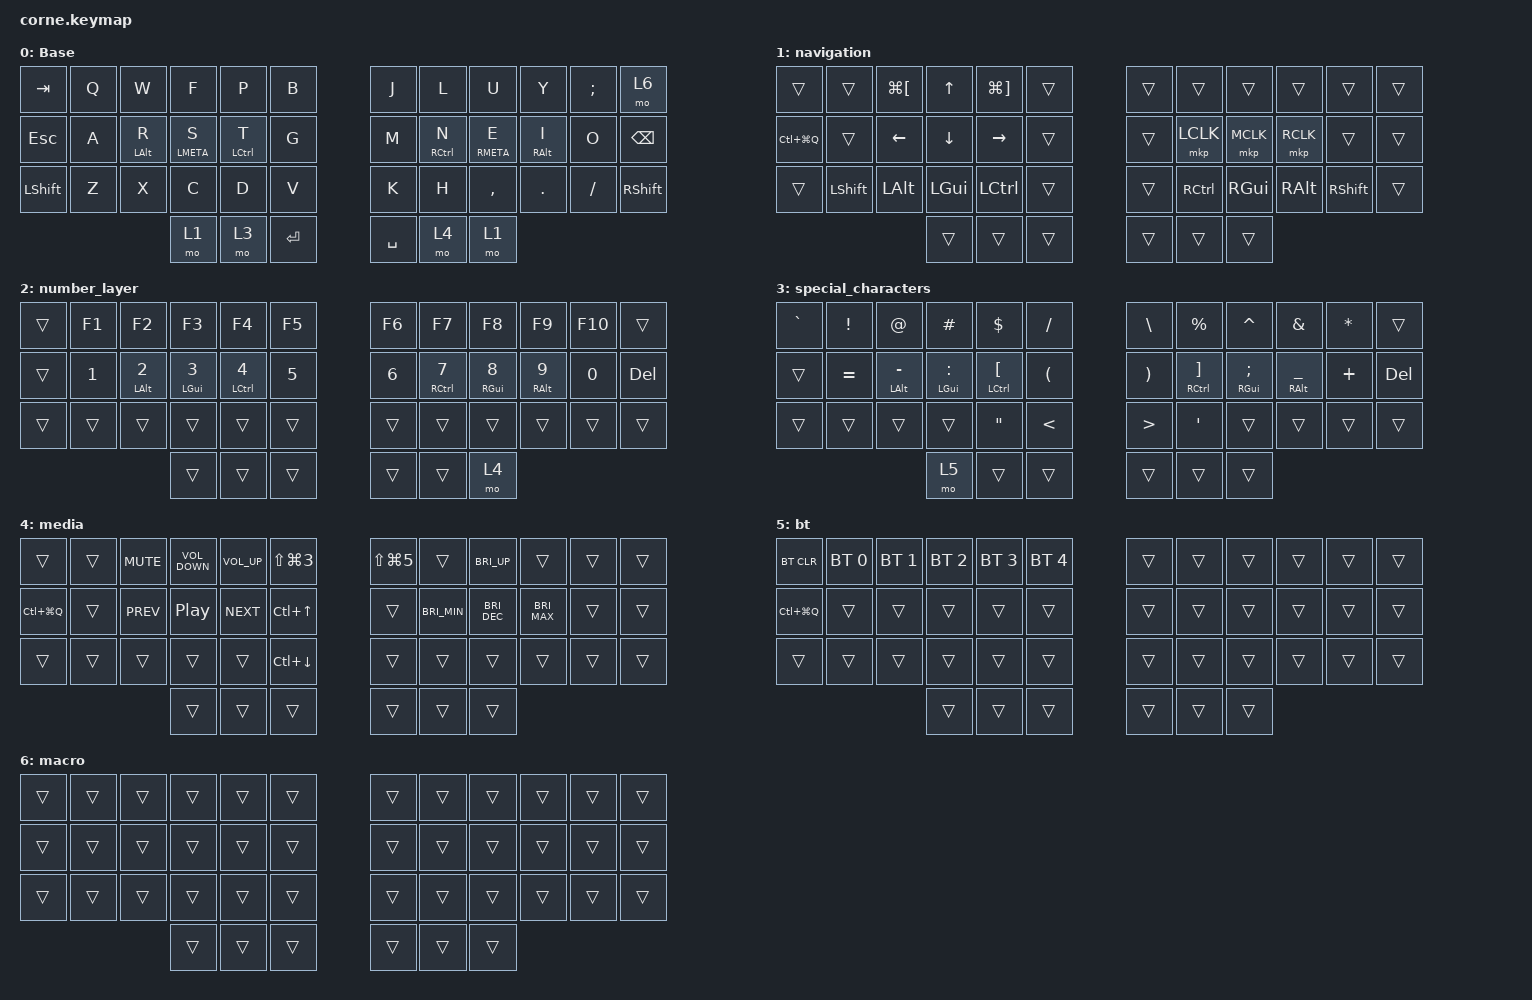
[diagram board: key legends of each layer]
/*
 * Copyright (c) 2020 The ZMK Contributors
 *
 * SPDX-License-Identifier: MIT
 */

#include <dt-bindings/zmk/mouse.h>
#include <behaviors.dtsi>
#include <dt-bindings/zmk/bt.h>
#include <dt-bindings/zmk/keys.h>
#include <dt-bindings/zmk/pointing.h>

/ {
    combos { compatible = "zmk,combos"; };

    behaviors {
        lpht: lpht {
            compatible = "zmk,behavior-hold-tap";
            label = "LPHT";
            bindings = <&kp>, <&kp>;

            #binding-cells = <2>;
            tapping-term-ms = <400>;
            flavor = "tap-preferred";
            hold-trigger-key-positions = <6 7 8 9 10 22 34 33 21 20 19 18 30 31 32 11 23 35 41 40 39>;
            retro-tap;
        };

        rpht: rpht {
            compatible = "zmk,behavior-hold-tap";
            label = "RPHT";
            bindings = <&kp>, <&kp>;

            #binding-cells = <2>;
            tapping-term-ms = <400>;
            hold-trigger-key-positions = <29 17 5 4 3 2 3 4 14 15 16 26 27 28 1 13 25 0 1 2 4 5 12 13 14 15 16 17 24 25 26 27 28 29 36 37 38>;
            flavor = "tap-preferred";
            retro-tap;
        };

        colon_semi: colon_semi {
            compatible = "zmk,behavior-tap-dance";
            label = "COLON_SEMI";
            #binding-cells = <0>;
            tapping-term-ms = <400>;
            bindings = <&kp COLON>, <&kp SEMI>;
        };
    };

    keymap {
        compatible = "zmk,keymap";

        default_layer {
            // -----------------------------------------------------------------------------------------
            // |  TAB |  Q  |  W  |  E  |  R  |  T  |   |  Y  |  U   |  I  |  O  |  P  | BKSP |
            // | CTRL |  A  |  S  |  D  |  F  |  G  |   |  H  |  J   |  K  |  L  |  ;  |  '   |
            // | SHFT |  Z  |  X  |  C  |  V  |  B  |   |  N  |  M   |  ,  |  .  |  /  | ESC  |
            //                    | GUI | LWR | SPC |   | ENT | RSE  | ALT |

            display-name = "Base";
            bindings = <
&kp TAB     &kp Q  &kp W         &kp F          &kp P          &kp B        &kp J      &kp L          &kp U          &kp Y         &kp SEMI   &mo 6
&kp ESCAPE  &kp A  &lpht LALT R  &lpht LMETA S  &lpht LCTRL T  &kp G        &kp M      &rpht RCTRL N  &rpht RMETA E  &rpht RALT I  &kp O      &kp BACKSPACE
&kp LSHIFT  &kp Z  &kp X         &kp C          &kp D          &kp V        &kp K      &kp H          &kp COMMA      &kp PERIOD    &kp SLASH  &kp RSHIFT
                                 &mo 1          &mo 3          &kp ENTER    &kp SPACE  &mo 4          &mo 1
            >;
        };

        navigation {
            bindings = <
&trans         &trans      &kp LG(LEFT_BRACKET)  &kp UP_ARROW  &kp LG(RIGHT_BRACKET)  &trans    &trans  &trans     &trans     &trans     &trans      &trans
&kp LC(LG(Q))  &trans      &kp LEFT              &kp DOWN      &kp RIGHT              &trans    &trans  &mkp LCLK  &mkp MCLK  &mkp RCLK  &trans      &trans
&trans         &kp LSHIFT  &kp LALT              &kp LGUI      &kp LCTRL              &trans    &trans  &kp RCTRL  &kp RGUI   &kp RALT   &kp RSHIFT  &trans
                                                 &trans        &trans                 &trans    &trans  &trans     &trans
            >;
        };

        number_layer {
            bindings = <
&trans  &kp F1        &kp F2               &kp F3               &kp F4                &kp F5          &kp F6        &kp F7                &kp F8               &kp F9                    &kp F10  &trans
&trans  &kp NUMBER_1  &lpht LALT NUMBER_2  &lpht LGUI NUMBER_3  &lpht LCTRL NUMBER_4  &kp NUMBER_5    &kp NUMBER_6  &rpht RCTRL NUMBER_7  &rpht RGUI NUMBER_8  &rpht RIGHT_ALT NUMBER_9  &kp N0   &kp DELETE
&trans  &trans        &trans               &trans               &trans                &trans          &trans        &trans                &trans               &trans                    &trans   &trans
                                           &trans               &trans                &trans          &trans        &trans                &mo 4
            >;
        };

        special_characters {
            bindings = <
&kp GRAVE  &kp EXCLAMATION  &kp AT            &kp HASH          &kp DOLLAR                &kp SLASH               &kp BACKSLASH          &kp PERCENT                &kp CARET        &kp AMPS          &kp ASTRK  &trans
&trans     &kp EQUAL        &lpht LALT MINUS  &lpht LGUI COLON  &lpht LCTRL LEFT_BRACKET  &kp LEFT_PARENTHESIS    &kp RIGHT_PARENTHESIS  &rpht RCTRL RIGHT_BRACKET  &rpht RGUI SEMI  &rpht RALT UNDER  &kp PLUS   &kp DELETE
&trans     &trans           &trans            &trans            &kp DOUBLE_QUOTES         &kp LESS_THAN           &kp GREATER_THAN       &kp SINGLE_QUOTE           &trans           &trans            &trans     &trans
                                              &mo 5             &trans                    &trans                  &trans                 &trans                     &trans
            >;
        };

        media {
            bindings = <
&trans         &trans  &kp K_MUTE  &kp C_VOLUME_DOWN  &kp C_VOL_UP  &kp LS(LG(NUMBER_3))    &kp LS(LG(N5))  &trans         &kp C_BRI_UP   &trans         &trans  &trans
&kp LC(LG(Q))  &trans  &kp C_PREV  &kp C_PP           &kp C_NEXT    &kp LC(UP_ARROW)        &trans          &kp C_BRI_MIN  &kp C_BRI_DEC  &kp C_BRI_MAX  &trans  &trans
&trans         &trans  &trans      &trans             &trans        &kp LC(DOWN_ARROW)      &trans          &trans         &trans         &trans         &trans  &trans
                                   &trans             &trans        &trans                  &trans          &trans         &trans
            >;
        };

        bt {
            bindings = <
&bt BT_CLR     &bt BT_SEL 0  &bt BT_SEL 1  &bt BT_SEL 2  &bt BT_SEL 3  &bt BT_SEL 4    &trans  &trans  &trans  &trans  &trans  &trans
&kp LC(LG(Q))  &trans        &trans        &trans        &trans        &trans          &trans  &trans  &trans  &trans  &trans  &trans
&trans         &trans        &trans        &trans        &trans        &trans          &trans  &trans  &trans  &trans  &trans  &trans
                                           &trans        &trans        &trans          &trans  &trans  &trans
            >;
        };

        macro {
            bindings = <
&trans  &trans  &trans  &trans  &trans  &trans    &trans  &trans  &trans  &trans  &trans  &trans
&trans  &trans  &trans  &trans  &trans  &trans    &trans  &trans  &trans  &trans  &trans  &trans
&trans  &trans  &trans  &trans  &trans  &trans    &trans  &trans  &trans  &trans  &trans  &trans
                        &trans  &trans  &trans    &trans  &trans  &trans
            >;
        };
    };
};
